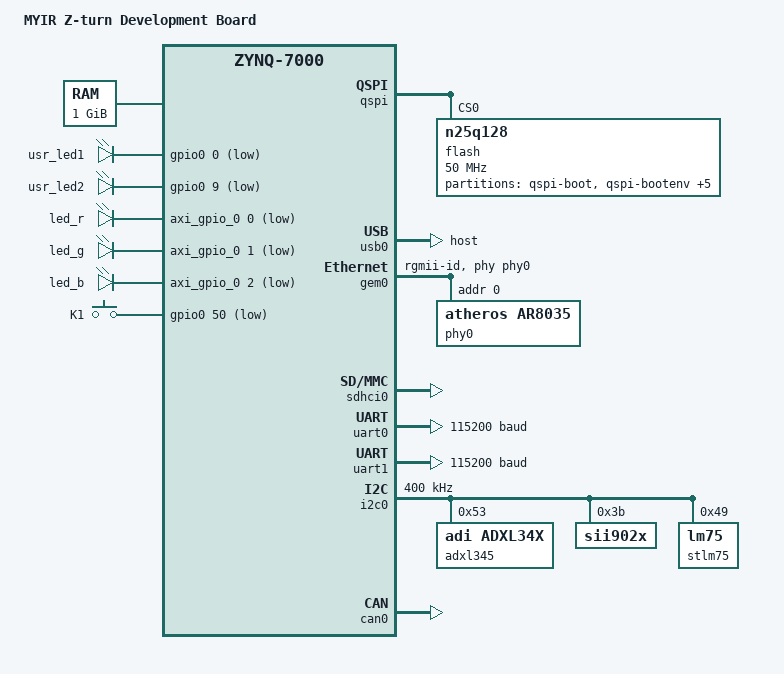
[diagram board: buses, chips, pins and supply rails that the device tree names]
/*
 *  Copyright (C) 2011 - 2014 Xilinx
 *  Copyright (C) 2012 National Instruments Corp.
 *
 * This software is licensed under the terms of the GNU General Public
 * License version 2, as published by the Free Software Foundation, and
 * may be copied, distributed, and modified under those terms.
 *
 * This program is distributed in the hope that it will be useful,
 * but WITHOUT ANY WARRANTY; without even the implied warranty of
 * MERCHANTABILITY or FITNESS FOR A PARTICULAR PURPOSE.  See the
 * GNU General Public License for more details.
 */
/dts-v1/;
/include/ "zynq-7000.dtsi"


/ {
	model = "MYIR Z-turn Development Board";
	compatible = "myir,zynq-zturn", "xlnx,zynq-7000";

	aliases {
		ethernet0 = &gem0;
		serial0 = &uart1;
		serial1 = &uart0;
		spi0 = &qspi;
	};

	memory@0 {
		device_type = "memory";
		reg = <0x0 0x40000000>;
	};

	chosen {
		bootargs = "";
		stdout-path = "serial0:115200n8";
	};
};

&clkc {
	ps-clk-frequency = <33333333>;
};

&gpio0 {
    emio-gpio-width = <64>;
    gpio-mask-high = <0x0>;
    gpio-mask-low = <0x5600>;
    xlnx,emio-gpio-width = <0x40>;
    xlnx,mio-gpio-mask = <0x5600>;
};

&qspi {
	status = "okay";
	is-dual = <0>;
	num-cs = <1>;
	xlnx,fb-clk = <0x1>;
	xlnx,qspi-mode = <0x0>;
	flash@0 {
		compatible = "n25q128";
		reg = <0x0>;
		spi-tx-bus-width = <1>;
		spi-rx-bus-width = <4>;
		spi-max-frequency = <50000000>;
		#address-cells = <1>;
		#size-cells = <1>;
		partition@qspi-boot {
			label = "qspi-boot";
			reg = <0x0 0x080000>;
		};
		partition@qspi-bootenv {
			label = "qspi-bootenv";
			reg = <0x080000 0x020000>;
		};		
		partition@qspi-bitstream {
			label = "qspi-bitstream";
			reg = <0x0A0000 0x460000>;
		};		
		partition@qspi-kernel {
			label = "qspi-kernel";
			reg = <0x500000 0x480000>;
		};
		partition@qspi-devicetree {
			label = "qspi-devicetree";
			reg = <0x980000 0x010000>;
		};
		partition@qspi-rootfs {
			label = "qspi-rootfs";
			reg = <0x990000 0x600000>;
		};
		partition@qspi-data {
			label = "data";
			reg = <0xF90000 0x070000>;
		};
	};
};

&usb0 {
	status = "okay";
	dr_mode = "host";
	phy_type = "ulpi";	
};

&gem0 {
    status = "okay";
    interrupt-parent = <&intc>;
    phy-mode = "rgmii-id";
    phy-handle = <&phy0>;
    phy0: phy@0 {
        compatible = "atheros,ar8035";
        device_type = "ethernet-phy";
        reg = <0>;
    };
};

&sdhci0 {
	u-boot,dm-pre-reloc;
	status = "okay";
    xlnx,has-cd = <0x1>;
    xlnx,has-power = <0x0>;
    xlnx,has-wp = <0x1>;
};

&uart0 {
	u-boot,dm-pre-reloc;
	status = "okay";
    current-speed = <115200>;
    port-number = <1>;
    xlnx,has-modem = <0x0>;
};

&uart1 {
	u-boot,dm-pre-reloc;
	status = "okay";
    current-speed = <115200>;
    port-number = <0>;
    xlnx,has-modem = <0x0>;
};

&i2c0 {
	status = "okay";
    clock-frequency = <400000>;
	
    adxl345@53 {
        compatible = "adi,adxl34x","adxl34x";
        reg = <0x53>;
        interrupt-parent = <&intc>;
        interrupts = < 0 30 4 >;
    };

    sii902x@3b {
        compatible = "sii902x";
        reg = <0x3b>;
        interrupt-parent = <&intc>;
        interrupts = < 0 29 4 >;
		mode_str = "1920x1080";
		bits-per-pixel = <16>;
    };

	stlm75@49 {
		status = "okay";
		compatible = "lm75";
		reg = <0x49>;
/*		interrupts = < 0 32 4 >;*/
	};
};

/*
&i2c1 {
	status = "okay";
    clock-frequency = <400000>;
    xlnx,has-interrupt = <0x1>;
    
	ft0x5x_ts@38 {
        compatible = "ft5x06_ts";
        reg = <0x38>;
        tp_int = <&gpio0 106 1>;
        tp_resetn = <&gpio0 107 1>;
	    polling_mode = /bits/ 8 <0>;
        multi_touch = /bits/ 8 <0>;
    };	
};
*/

&can0 {
	status = "okay";
};

&ps7_axi {

		axi_gpio_0: gpio@41200000 {
			#gpio-cells = <2>;
			compatible = "xlnx,xps-gpio-1.00.a";
			gpio-controller ;
			reg = <0x41200000 0x10000>;
			xlnx,all-inputs = <0x0>;
			xlnx,all-inputs-2 = <0x0>;
			xlnx,all-outputs = <0x1>;
			xlnx,all-outputs-2 = <0x0>;
			xlnx,dout-default = <0x00000000>;
			xlnx,dout-default-2 = <0x00000000>;
			xlnx,gpio-width = <0x3>;
			xlnx,gpio2-width = <0x20>;
			xlnx,interrupt-present = <0x0>;
			xlnx,is-dual = <0x0>;
			xlnx,tri-default = <0xFFFFFFFF>;
			xlnx,tri-default-2 = <0xFFFFFFFF>;
		};
		axi_timer_0: timer@42800000 {
			clock-frequency = <99000000>;
			clock-names = "ref_clk";
			clocks = <&clkc 0>;
			compatible = "xlnx,xps-timer-1.00.a";
			reg = <0x42800000 0x10000>;
			xlnx,count-width = <0x20>;
			xlnx,gen0-assert = <0x1>;
			xlnx,gen1-assert = <0x1>;
			xlnx,one-timer-only = <0x0>;
			xlnx,trig0-assert = <0x1>;
			xlnx,trig1-assert = <0x1>;
		};

	gpio-leds {
		compatible = "gpio-leds";
		usr_led1 {
			label = "usr_led1";
			gpios = <&gpio0 0 1>;
			default-state = "off";
			linux,default-trigger = "none";
		};
		usr_led2 {
			label = "usr_led2";
			gpios = <&gpio0 9 1>;
			default-state = "off";
			linux,default-trigger = "none";
		};
		led_r {
			label = "led_r";
			gpios = <&axi_gpio_0 0 1>;
			default-state = "off";
			linux,default-trigger = "none";
		};
		led_g {
			label = "led_g";
			gpios = <&axi_gpio_0 1 1>;
			default-state = "off";
			linux,default-trigger = "none";
		};
		led_b {
			label = "led_b";
			gpios = <&axi_gpio_0 2 1>;
			default-state = "off";
			linux,default-trigger = "none";
		};
	};
	
    gpio-beep {
            compatible = "gpio-beeper";
            lable = "pl-beep";
            gpios = <&gpio0 117 0>;
        };
	
/* MYIR, added USR key */
	gpio-keys {
		compatible = "gpio-keys";
		#address-cells = <1>;
		#size-cells = <0>;
		autorepeat;
		K1 {
			label = "K1";
			gpios = <&gpio0 50 1>;
			linux,code = <102>; /* KEY_HOME */
			gpio-key,wakeup;
			autorepeat;
		};

/*	Switches
		sw1 {
			label = "sw1";
			gpios = <&gpio0 110 1>;
			linux,code = <103>;
			gpio-key,wakeup;
			autorepeat;
		};
		sw2 {
			label = "sw2";
			gpios = <&gpio0 111 1>;
			linux,code = <104>;
			gpio-key,wakeup;
			autorepeat;
		};
		sw3 {
			label = "sw3";
			gpios = <&gpio0 112 1>;
			linux,code = <104>;
			gpio-key,wakeup;
			autorepeat;
		};
		sw4 {
			label = "sw4";
			gpios = <&gpio0 113 1>;
			linux,code = <105>;
			gpio-key,wakeup;
			autorepeat;
		}; */
	};
};
